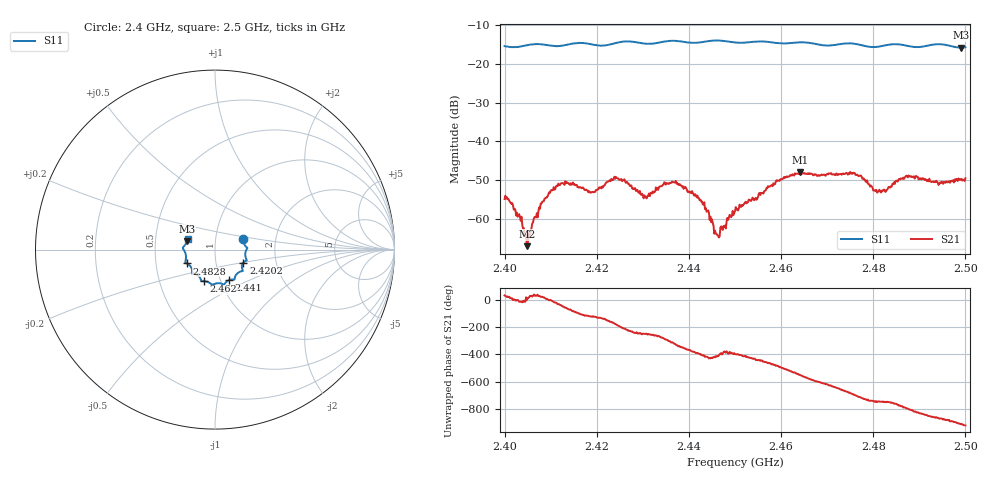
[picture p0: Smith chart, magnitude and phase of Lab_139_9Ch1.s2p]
# Hz S RI R 50
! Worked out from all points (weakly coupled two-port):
!   601 points, 2.4 GHz to 2.5 GHz, reference 50 ohm
!   highest |S21| = -47.92 dB at 2.4642 GHz (marker M1); lowest = -67.2 dB at 2.4048 GHz (marker M2)
!   lowest |S11| = -15.8 dB at 2.499 GHz (marker M3), VSWR 1.39, Z = 36.4 + j3.54 ohm
!   |S11| at or under -10 dB: start of sweep to end of sweep
!   S12 and S22 are empty: the file has one direction only
!   S11 on the Smith chart (normalised r, x): 2.4 GHz: 1.36, +0.17; 2.4202 GHz: 1.36, -0.20; 2.441 GHz: 1.10, -0.39; 2.462 GHz: 0.83, -0.30; 2.4828 GHz: 0.72, -0.11; 2.5 GHz: 0.73, +0.09
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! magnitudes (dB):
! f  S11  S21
! 2.4 GHz  -15.4  -54.9
! 2.4032 GHz  -15.5  -58.9
! 2.4048 GHz  -15.2  -67.2
! 2.4102 GHz  -15.3  -52.6
! 2.4167 GHz  -14.6  -52.2
! 2.4202 GHz  -15.2  -52.5
! 2.4242 GHz  -14.6  -49.3
! 2.4305 GHz  -14.8  -54.3
! 2.4333 GHz  -14.5  -52.6
! 2.4367 GHz  -14.0  -50.6
! 2.441 GHz  -14.5  -53.7
! 2.4462 GHz  -13.9  -64.3
! 2.45 GHz  -14.4  -58.1
! 2.462 GHz  -14.6  -48.7
! 2.4642 GHz  -14.4  -47.9
! 2.4667 GHz  -14.6  -48.4
! 2.4755 GHz  -14.7  -48.4
! 2.4828 GHz  -15.1  -52.7
! 2.4833 GHz  -15.0  -51.8
! 2.4875 GHz  -15.3  -49.3
! 2.499 GHz  -15.8  -49.8
! 2.5 GHz  -15.7  -49.6
